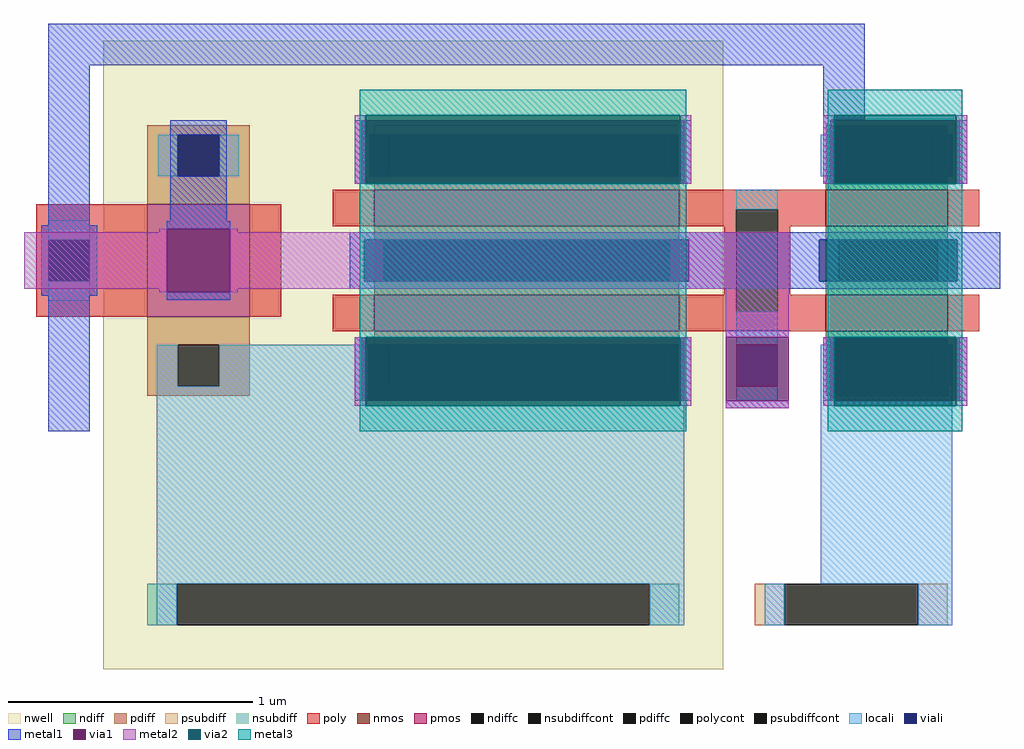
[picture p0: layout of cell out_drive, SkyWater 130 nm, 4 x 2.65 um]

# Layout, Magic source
magic
tech sky130A
magscale 1 2
<< nwell >>
rect 4765 -55 5273 460
<< nmos >>
rect 5357 308 5457 338
rect 5357 222 5457 252
<< pmos >>
rect 4801 234 4885 326
rect 4987 308 5237 338
rect 4987 222 5237 252
<< ndiff >>
rect 5357 383 5457 391
rect 5357 349 5369 383
rect 5445 349 5457 383
rect 5357 338 5457 349
rect 5357 297 5457 308
rect 5357 263 5368 297
rect 5449 263 5457 297
rect 5357 252 5457 263
rect 5357 211 5457 222
rect 5357 177 5369 211
rect 5445 177 5457 211
rect 5357 169 5457 177
<< pdiff >>
rect 4801 383 4885 391
rect 4801 349 4826 383
rect 4860 349 4885 383
rect 4801 326 4885 349
rect 4987 383 5237 391
rect 4987 349 4999 383
rect 5225 349 5237 383
rect 4987 338 5237 349
rect 4987 297 5237 308
rect 4987 263 4995 297
rect 5229 263 5237 297
rect 4987 252 5237 263
rect 4801 211 4885 234
rect 4801 177 4826 211
rect 4860 177 4885 211
rect 4801 169 4885 177
rect 4987 211 5237 222
rect 4987 177 4999 211
rect 5225 177 5237 211
rect 4987 169 5237 177
<< ndiffc >>
rect 5369 349 5445 383
rect 5368 263 5449 297
rect 5369 177 5445 211
<< pdiffc >>
rect 4826 349 4860 383
rect 4999 349 5225 383
rect 4995 263 5229 297
rect 4826 177 4860 211
rect 4999 177 5225 211
<< psubdiff >>
rect 5299 -19 5323 15
rect 5433 -19 5457 15
<< nsubdiff >>
rect 4801 -19 4825 15
rect 5213 -19 5237 15
<< psubdiffcont >>
rect 5323 -19 5433 15
<< nsubdiffcont >>
rect 4825 -19 5213 15
<< poly >>
rect 4710 297 4801 326
rect 4710 263 4720 297
rect 4754 263 4801 297
rect 4710 234 4801 263
rect 4885 234 4911 326
rect 4953 308 4987 338
rect 5237 322 5357 338
rect 5237 308 5284 322
rect 5274 252 5284 308
rect 4953 222 4987 252
rect 5237 238 5284 252
rect 5318 308 5357 322
rect 5457 308 5483 338
rect 5318 252 5328 308
rect 5318 238 5357 252
rect 5237 222 5357 238
rect 5457 222 5483 252
<< polycont >>
rect 4720 263 4754 297
rect 5284 238 5318 322
<< locali >>
rect 4810 349 4826 383
rect 4860 349 4876 383
rect 5235 349 5241 383
rect 5353 349 5367 383
rect 5284 322 5318 338
rect 4720 297 4754 313
rect 4720 247 4754 263
rect 5284 211 5318 238
rect 4809 177 4826 211
rect 4860 177 4983 211
rect 5235 177 5241 211
rect 4809 15 5241 177
rect 5284 165 5318 177
rect 5353 177 5367 211
rect 5353 15 5461 177
rect 4809 -19 4825 15
rect 5213 -19 5241 15
rect 5307 -19 5323 15
rect 5433 -19 5461 15
<< viali >>
rect 4826 349 4860 383
rect 4983 349 4999 383
rect 4999 349 5225 383
rect 5225 349 5235 383
rect 5367 349 5369 383
rect 5369 349 5445 383
rect 5445 349 5461 383
rect 4720 263 4754 297
rect 4979 263 4995 297
rect 4995 263 5229 297
rect 5229 263 5245 297
rect 5352 263 5368 297
rect 5368 263 5449 297
rect 5449 263 5465 297
rect 4983 177 4999 211
rect 4999 177 5225 211
rect 5225 177 5235 211
rect 5284 177 5318 211
rect 5367 177 5369 211
rect 5369 177 5445 211
rect 5445 177 5461 211
<< metal1 >>
rect 4720 440 5389 474
rect 4720 309 4754 440
rect 5355 395 5389 440
rect 4820 383 4866 395
rect 4820 349 4826 383
rect 4860 349 4866 383
rect 4820 312 4866 349
rect 4971 343 4977 395
rect 5241 343 5247 395
rect 5355 343 5361 395
rect 5467 343 5473 395
rect 4714 297 4760 309
rect 4714 263 4720 297
rect 4754 263 4760 297
rect 4714 251 4760 263
rect 4817 306 4869 312
rect 4967 297 5500 303
rect 4967 263 4979 297
rect 5245 263 5352 297
rect 5465 263 5500 297
rect 4967 257 5500 263
rect 4720 140 4754 251
rect 4817 248 4869 254
rect 5275 217 5327 223
rect 4971 165 4977 217
rect 5241 165 5247 217
rect 5355 165 5361 217
rect 5467 165 5473 217
rect 5275 159 5327 165
<< via1 >>
rect 4977 383 5241 395
rect 4977 349 4983 383
rect 4983 349 5235 383
rect 5235 349 5241 383
rect 4977 343 5241 349
rect 5361 383 5467 395
rect 5361 349 5367 383
rect 5367 349 5461 383
rect 5461 349 5467 383
rect 5361 343 5467 349
rect 4817 254 4869 306
rect 4977 211 5241 217
rect 4977 177 4983 211
rect 4983 177 5235 211
rect 5235 177 5241 211
rect 4977 165 5241 177
rect 5275 211 5327 217
rect 5275 177 5284 211
rect 5284 177 5318 211
rect 5318 177 5327 211
rect 5275 165 5327 177
rect 5361 211 5467 217
rect 5361 177 5367 211
rect 5367 177 5461 211
rect 5461 177 5467 211
rect 5361 165 5467 177
<< metal2 >>
rect 4971 395 4980 399
rect 5238 395 5247 399
rect 4971 343 4977 395
rect 5241 343 5247 395
rect 5355 395 5364 399
rect 5464 395 5473 399
rect 5355 343 5361 395
rect 5467 343 5473 395
rect 4811 303 4817 306
rect 4700 257 4817 303
rect 4811 254 4817 257
rect 4869 303 4875 306
rect 4869 257 5327 303
rect 4869 254 4875 257
rect 5275 217 5327 257
rect 4971 165 4977 217
rect 5241 165 5247 217
rect 4971 161 4980 165
rect 5238 161 5247 165
rect 5275 159 5327 165
rect 5355 165 5361 217
rect 5467 165 5473 217
rect 5355 161 5364 165
rect 5464 161 5473 165
<< via2 >>
rect 4980 395 5238 399
rect 4980 343 5238 395
rect 5364 395 5464 399
rect 5364 343 5464 395
rect 4980 165 5238 217
rect 4980 161 5238 165
rect 5364 165 5464 217
rect 5364 161 5464 165
<< metal3 >>
rect 4975 399 5243 420
rect 4975 343 4980 399
rect 5238 343 5243 399
rect 4975 217 5243 343
rect 4975 161 4980 217
rect 5238 161 5243 217
rect 4975 140 5243 161
rect 5359 399 5469 420
rect 5359 343 5364 399
rect 5464 343 5469 399
rect 5359 217 5469 343
rect 5359 161 5364 217
rect 5464 161 5469 217
rect 5359 140 5469 161
<< end >>
